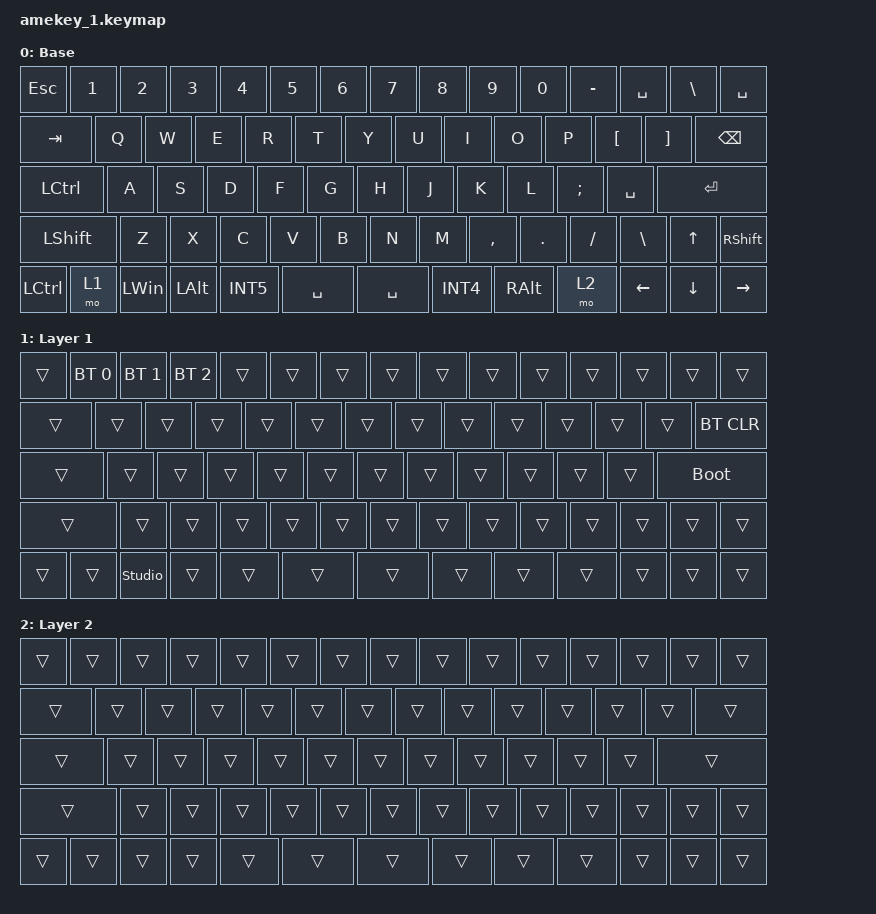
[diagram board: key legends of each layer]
// See https://zmk.dev/docs/development/hardware-integration/new-shield for more instructions.

#include <behaviors.dtsi>
#include <dt-bindings/zmk/keys.h>
#include <dt-bindings/zmk/bt.h>

/ {
    // See https://zmk.dev/docs/development/hardware-integration/new-shield#default-keymap.
    keymap {
        compatible = "zmk,keymap";

        default_layer { // Layer 0
            display-name ="Base";
// ------------------------------------------------------------------------------------------------------------
// |  ESC  |  1  |  2  |  3   |  4   |  5   |  6   |  7   |  8   |  9   |   0   |   -   |  ^  |  \  |  @  |
// |  TAB     |  Q  |  W  |  E   |  R   |  T   |  Y   |  U    |  I    |  O   |   P   |   "["  |  "]"|  BS |
// |  CTRL     |  A  |  S  |  D   |  F   |  G   |  H   |  J    |  K    |  L   |   ;   |   :   |   ENTER   |
// | SHIFT      |  Z  |  X  |  C   |  V   |  B   |  N   |  M    |  ,    |  .   |   /   |   \  | ↑ | SHIFT |
// | LCTRL | Fn | Win | ALT | LOWER  |  INT5 |   SPACE   |   SPACE   | INT4 | ALT | Fn |   ←  |  ↓  |  →  |

            bindings = <
            &kp ESC    &kp N1  &kp N2   &kp N3   &kp N4   &kp N5    &kp N6    &kp N7   &kp N8    &kp N9  &kp N0   &kp MINUS &kp SPACE &kp BSLH &kp SPACE 
            &kp TAB    &kp Q   &kp W    &kp E    &kp R    &kp T     &kp Y     &kp U    &kp I     &kp O   &kp P    &kp LBKT  &kp RBKT  &kp BSPC
            &kp LCTRL  &kp A   &kp S    &kp D    &kp F    &kp G     &kp H     &kp J    &kp K     &kp L   &kp SEMI &kp SPACE &kp RET
            &kp LSHFT  &kp Z   &kp X    &kp C    &kp V    &kp B     &kp N     &kp M    &kp COMMA &kp DOT &kp FSLH &kp BSLH  &kp UP    &kp RSHFT
            &kp LCTRL  &mo 1   &kp LWIN &kp LALT &kp INT5 &kp SPACE &kp SPACE &kp INT4 &kp RALT  &mo 2   &kp LEFT &kp DOWN  &kp RIGHT
            >;
        };

        key_mapping0{ // Layer 1
            display-name = "Layer 1";
// ------------------------------------------------------------------------------------------------------------
// |  ESC  |  1  |  2  |  3   |  4   |  5   |  6   |  7   |  8   |  9   |   0   |   -   |  ^  |  \  |  @  |
// |  TAB     |  Q  |  W  |  E   |  R   |  T   |  Y   |  U    |  I    |  O   |   P   |   "["  |  "]"|  BS |
// |  CTRL     |  A  |  S  |  D   |  F   |  G   |  H   |  J    |  K    |  L   |   ;   |   :   |   ENTER   |
// | SHIFT      |  Z  |  X  |  C   |  V   |  B   |  N   |  M    |  ,    |  .   |   /   |   \  | ↑ | SHIFT |
// | LCTRL | Fn | Win | ALT | LOWER  |  INT5 |   SPACE   |   SPACE   | INT4 | ALT | Fn |   ←  |  ↓  |  →  |

            bindings = <
            &trans &bt BT_SEL 0 &bt BT_SEL 1      &bt BT_SEL 2 &trans &trans &trans &trans &trans &trans &trans &trans &trans &trans &trans
            &trans &trans       &trans            &trans       &trans &trans &trans &trans &trans &trans &trans &trans &trans &bt BT_CLR
            &trans &trans       &trans            &trans       &trans &trans &trans &trans &trans &trans &trans &trans &bootloader
            &trans &trans       &trans            &trans       &trans &trans &trans &trans &trans &trans &trans &trans &trans &trans
            &trans &trans       &studio_unlock    &trans       &trans &trans &trans &trans &trans &trans &trans &trans &trans
            >;

        };

        key_mapping1{ // Layer 2
            display-name = "Layer 2";
// ------------------------------------------------------------------------------------------------------------
// |  ESC  |  1  |  2  |  3   |  4   |  5   |  6   |  7   |  8   |  9   |   0   |   -   |  ^  |  \  |  @  |
// |  TAB     |  Q  |  W  |  E   |  R   |  T   |  Y   |  U    |  I    |  O   |   P   |   "["  |  "]"|  BS |
// |  CTRL     |  A  |  S  |  D   |  F   |  G   |  H   |  J    |  K    |  L   |   ;   |   :   |   ENTER   |
// | SHIFT      |  Z  |  X  |  C   |  V   |  B   |  N   |  M    |  ,    |  .   |   /   |   \  | ↑ | SHIFT |
// | LCTRL | Fn | Win | ALT | LOWER  |  INT5 |   SPACE   |   SPACE   | INT4 | ALT | Fn |   ←  |  ↓  |  →  |

            bindings = <
            &trans &trans &trans &trans &trans &trans &trans &trans &trans &trans &trans &trans &trans &trans &trans
            &trans &trans &trans &trans &trans &trans &trans &trans &trans &trans &trans &trans &trans &trans
            &trans &trans &trans &trans &trans &trans &trans &trans &trans &trans &trans &trans &trans
            &trans &trans &trans &trans &trans &trans &trans &trans &trans &trans &trans &trans &trans &trans
            &trans &trans &trans &trans &trans &trans &trans &trans &trans &trans &trans &trans &trans
            >;

        };


    };
};
